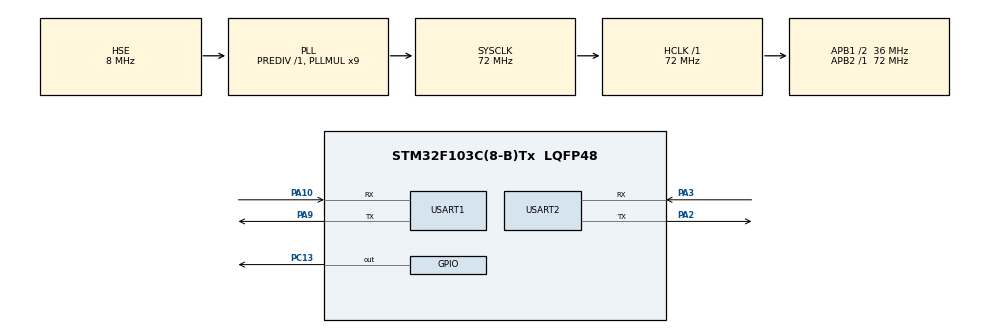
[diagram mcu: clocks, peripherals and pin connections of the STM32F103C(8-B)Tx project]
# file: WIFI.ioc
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Mcu.Family=STM32F1
Mcu.Name=STM32F103C(8-B)Tx
Mcu.Package=LQFP48
NVIC.PriorityGroup=NVIC_PRIORITYGROUP_4
NVIC.USART1_IRQn=true\:0\:0\:false\:false\:true\:true\:true\:true
NVIC.USART2_IRQn=true\:0\:0\:false\:false\:true\:true\:true\:true
PA10.Mode=Asynchronous
PA10.Signal=USART1_RX
PA13.Mode=Serial_Wire
PA13.Signal=SYS_JTMS-SWDIO
PA14.Mode=Serial_Wire
PA14.Signal=SYS_JTCK-SWCLK
PA2.Mode=Asynchronous
PA2.Signal=USART2_TX
PA3.Mode=Asynchronous
PA3.Signal=USART2_RX
PA9.Mode=Asynchronous
PA9.Signal=USART1_TX
PC13-TAMPER-RTC.Signal=GPIO_Output
PD0-OSC_IN.Mode=HSE-External-Oscillator
PD0-OSC_IN.Signal=RCC_OSC_IN
PD1-OSC_OUT.Mode=HSE-External-Oscillator
PD1-OSC_OUT.Signal=RCC_OSC_OUT
ProjectManager.HeapSize=0x200
ProjectManager.StackSize=0x400
ProjectManager.TargetToolchain=STM32CubeIDE
RCC.AHBFreq_Value=72000000
RCC.APB1CLKDivider=RCC_HCLK_DIV2
RCC.APB1Freq_Value=36000000
RCC.APB1TimFreq_Value=72000000
RCC.APB2Freq_Value=72000000
RCC.APB2TimFreq_Value=72000000
RCC.HCLKFreq_Value=72000000
RCC.PLLMUL=RCC_PLL_MUL9
RCC.PLLSourceVirtual=RCC_PLLSOURCE_HSE
RCC.SYSCLKFreq_VALUE=72000000
RCC.SYSCLKSource=RCC_SYSCLKSOURCE_PLLCLK
RCC.USBFreq_Value=72000000
USART1.VirtualMode=VM_ASYNC
USART2.VirtualMode=VM_ASYNC
board=custom

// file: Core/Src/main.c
/* USER CODE BEGIN Header */
/**
  ******************************************************************************
  * @file           : main.c
  * @brief          : Main program body
  ******************************************************************************
  * @attention
  *
  * Copyright (c) 2026 STMicroelectronics.
  * All rights reserved.
  *
  * This software is licensed under terms that can be found in the LICENSE file
  * in the root directory of this software component.
  * If no LICENSE file comes with this software, it is provided AS-IS.
  *
  ******************************************************************************
  */
/* USER CODE END Header */
#include "main.h"

UART_HandleTypeDef huart1;
UART_HandleTypeDef huart2;

void SystemClock_Config(void);
static void MX_GPIO_Init(void);
static void MX_USART1_UART_Init(void);
static void MX_USART2_UART_Init(void);

int main(void)
{

  /* MCU Configuration--------------------------------------------------------*/

  /* Reset of all peripherals, Initializes the Flash interface and the Systick. */
  HAL_Init();

  /* Configure the system clock */
  SystemClock_Config();

  /* Initialize all configured peripherals */
  MX_GPIO_Init();
  MX_USART1_UART_Init();
  MX_USART2_UART_Init();

  /* USER CODE BEGIN 2 */

  /* USER CODE BEGIN 2 */

  uint8_t cmd[]  = "AT\r\n";
    uint8_t cmd1[] = "AT+CWMODE=1\r\n";
    uint8_t cmd2[] = "AT+CWJAP=\"Galaxy S26 014C\",\"titus#78\"\r\n";
    uint8_t cmd3[] = "AT+CIFSR\r\n";

    uint8_t rx;
    uint32_t start;

    /* Command 1: Test ESP8266 */
    HAL_UART_Transmit(&huart1, cmd, sizeof(cmd) - 1, HAL_MAX_DELAY);
    HAL_Delay(500);

    /* Command 2: Set station mode */
    HAL_UART_Transmit(&huart1, cmd1, sizeof(cmd1) - 1, HAL_MAX_DELAY);
    HAL_Delay(500);

    /* Command 3: Connect to Wi-Fi */
    HAL_UART_Transmit(&huart1, cmd2, sizeof(cmd2) - 1, HAL_MAX_DELAY);
    HAL_Delay(500);

    /* Wait for Wi-Fi connection and forward response */
    start = HAL_GetTick();

    while ((HAL_GetTick() - start) < 20000)
    {
        if (HAL_UART_Receive(&huart1, &rx, 1, 100) == HAL_OK)
        {
            HAL_UART_Transmit(&huart2, &rx, 1, HAL_MAX_DELAY);
        }
    }

    /* Command 4: Get IP address */
    HAL_UART_Transmit(&huart1, cmd3, sizeof(cmd3) - 1, HAL_MAX_DELAY);

    /* Receive and display the complete response */
    start = HAL_GetTick();

    while ((HAL_GetTick() - start) < 3000)
    {
        if (HAL_UART_Receive(&huart1, &rx, 1, 100) == HAL_OK)
        {
            HAL_UART_Transmit(&huart2, &rx, 1, HAL_MAX_DELAY);

            /* Extend timeout whenever another byte arrives */
            start = HAL_GetTick();
        }
    }

  /* USER CODE END 2 */

  /* USER CODE END 2 */

  /* Infinite loop */
  /* USER CODE BEGIN WHILE */

  while (1)
  {

	  //HAL_UART_Transmit(&huart1, cmd1, sizeof(cmd1) - 1, HAL_MAX_DELAY);

//	  HAL_UART_Receive(&huart1, rx, 1, 3000);
	  //HAL_UART_Transmit(&huart2, rx, 1, HAL_MAX_DELAY);

	  /* USER CODE END WHILE */

  }
}

void SystemClock_Config(void)
{
  RCC_OscInitTypeDef RCC_OscInitStruct = {0};
  RCC_ClkInitTypeDef RCC_ClkInitStruct = {0};

  /** Initializes the RCC Oscillators according to the specified parameters
  * in the RCC_OscInitTypeDef structure.
  */
  RCC_OscInitStruct.OscillatorType = RCC_OSCILLATORTYPE_HSE;
  RCC_OscInitStruct.HSEState = RCC_HSE_ON;
  RCC_OscInitStruct.HSEPredivValue = RCC_HSE_PREDIV_DIV1;
  RCC_OscInitStruct.HSIState = RCC_HSI_ON;
  RCC_OscInitStruct.PLL.PLLState = RCC_PLL_ON;
  RCC_OscInitStruct.PLL.PLLSource = RCC_PLLSOURCE_HSE;
  RCC_OscInitStruct.PLL.PLLMUL = RCC_PLL_MUL9;
  if (HAL_RCC_OscConfig(&RCC_OscInitStruct) != HAL_OK)
  {
    Error_Handler();
  }

  /** Initializes the CPU, AHB and APB buses clocks
  */
  RCC_ClkInitStruct.ClockType = RCC_CLOCKTYPE_HCLK|RCC_CLOCKTYPE_SYSCLK
                              |RCC_CLOCKTYPE_PCLK1|RCC_CLOCKTYPE_PCLK2;
  RCC_ClkInitStruct.SYSCLKSource = RCC_SYSCLKSOURCE_PLLCLK;
  RCC_ClkInitStruct.AHBCLKDivider = RCC_SYSCLK_DIV1;
  RCC_ClkInitStruct.APB1CLKDivider = RCC_HCLK_DIV2;
  RCC_ClkInitStruct.APB2CLKDivider = RCC_HCLK_DIV1;

  if (HAL_RCC_ClockConfig(&RCC_ClkInitStruct, FLASH_LATENCY_2) != HAL_OK)
  {
    Error_Handler();
  }
}

static void MX_USART1_UART_Init(void)
{

  huart1.Instance = USART1;
  huart1.Init.BaudRate = 115200;
  huart1.Init.WordLength = UART_WORDLENGTH_8B;
  huart1.Init.StopBits = UART_STOPBITS_1;
  huart1.Init.Parity = UART_PARITY_NONE;
  huart1.Init.Mode = UART_MODE_TX_RX;
  huart1.Init.HwFlowCtl = UART_HWCONTROL_NONE;
  huart1.Init.OverSampling = UART_OVERSAMPLING_16;
  if (HAL_UART_Init(&huart1) != HAL_OK)
  {
    Error_Handler();
  }

}

static void MX_USART2_UART_Init(void)
{

  huart2.Instance = USART2;
  huart2.Init.BaudRate = 115200;
  huart2.Init.WordLength = UART_WORDLENGTH_8B;
  huart2.Init.StopBits = UART_STOPBITS_1;
  huart2.Init.Parity = UART_PARITY_NONE;
  huart2.Init.Mode = UART_MODE_TX_RX;
  huart2.Init.HwFlowCtl = UART_HWCONTROL_NONE;
  huart2.Init.OverSampling = UART_OVERSAMPLING_16;
  if (HAL_UART_Init(&huart2) != HAL_OK)
  {
    Error_Handler();
  }

}

static void MX_GPIO_Init(void)
{
  GPIO_InitTypeDef GPIO_InitStruct = {0};

  /* GPIO Ports Clock Enable */
  __HAL_RCC_GPIOC_CLK_ENABLE();
  __HAL_RCC_GPIOD_CLK_ENABLE();
  __HAL_RCC_GPIOA_CLK_ENABLE();

  /*Configure GPIO pin Output Level */
  HAL_GPIO_WritePin(GPIOC, GPIO_PIN_13, GPIO_PIN_RESET);

  /*Configure GPIO pin : PC13 */
  GPIO_InitStruct.Pin = GPIO_PIN_13;
  GPIO_InitStruct.Mode = GPIO_MODE_OUTPUT_PP;
  GPIO_InitStruct.Pull = GPIO_NOPULL;
  GPIO_InitStruct.Speed = GPIO_SPEED_FREQ_LOW;
  HAL_GPIO_Init(GPIOC, &GPIO_InitStruct);

}

void Error_Handler(void)
{
  __disable_irq();
  while (1)
  {
  }
}
